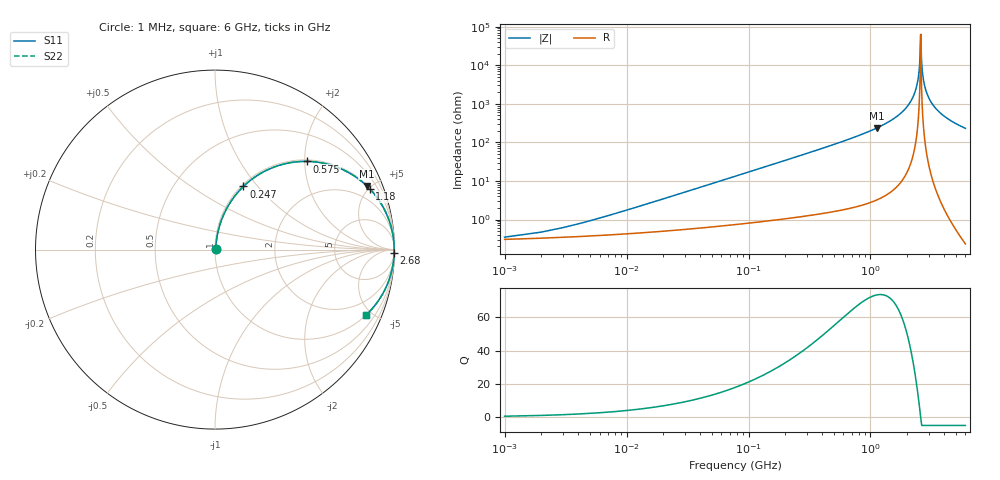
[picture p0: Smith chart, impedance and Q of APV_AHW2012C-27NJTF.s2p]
! APV AHW2012C-27NJTF 27 nH 0805 wire-wound (L1)
! Lumped model fitted to APV datasheet: Q=55@500MHz, SRF=2580MHz, DCR=0.25 ohm
! Model: (L + DCR + k*sqrt(f)) || Cp ; L=2.7e-08 H, Cp=1.41e-13 F, k=5.52e-05
! Generated by make_s2p.py - an estimate, not a measurement
! Series-thru 2-port: part connected between port 1 and port 2.
# Hz S RI R 50
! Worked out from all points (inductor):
!   1500 points, 1 MHz to 6 GHz, reference 50 ohm
!   read as one part in series: L = 27 nH near 8 MHz
!   highest Q = 73.6 at 1.13 GHz (marker M1), where L = 33.4 nH
!   self-resonance near 2.57 GHz
!   S11 on the Smith chart (normalised r, x): 1 MHz: 1.01, +0.00; 247 MHz: 1.02, +0.85; 575 MHz: 1.03, +2.05; 1.18 GHz: 1.07, +5.06; 2.68 GHz: open; 6 GHz: 1.00, -4.62
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1000000  0.00305 0.00169  0.997 -0.00169  0.997 -0.00169  0.00305 0.00169
5000000  0.00379 0.00842  0.9962 -0.00842  0.9962 -0.00842  0.00379 0.00842
1.9e7  0.00591 0.0319  0.9941 -0.0319  0.9941 -0.0319  0.00591 0.0319
7.8e7  0.0242 0.1283  0.9758 -0.1283  0.9758 -0.1283  0.0242 0.1283
2.47e8  0.1584 0.3519  0.8416 -0.3519  0.8416 -0.3519  0.1584 0.3519
3.31e8  0.2508 0.4223  0.7492 -0.4223  0.7492 -0.4223  0.2508 0.4223
5.75e8  0.5129 0.4914  0.4871 -0.4914  0.4871 -0.4914  0.5129 0.4914
1.13e9  0.8457 0.3545  0.1543 -0.3545  0.1543 -0.3545  0.8457 0.3545
1.18e9  0.8617 0.3385  0.1383 -0.3385  0.1383 -0.3385  0.8617 0.3385
1.41e9  0.9177 0.2679  0.0823 -0.2679  0.0823 -0.2679  0.9177 0.2679
1.85e9  0.9741 0.1504  0.0259 -0.1504  0.0259 -0.1504  0.9741 0.1504
2.2e9  0.9927 0.0724  0.00732 -0.0724  0.00732 -0.0724  0.9927 0.0724
2.41e9  0.9973 0.031  0.00273 -0.031  0.00273 -0.031  0.9973 0.031
2.53e9  0.9983 0.0089  0.00172 -0.0089  0.00172 -0.0089  0.9983 0.0089
2.57e9  0.9984 0.00176  0.0016 -0.00176  0.0016 -0.00176  0.9984 0.00176
2.63e9  0.9984 -0.00875  0.00162 0.00875  0.00162 0.00875  0.9984 -0.00875
2.68e9  0.9982 -0.0173  0.0018 0.0173  0.0018 0.0173  0.9982 -0.0173
2.76e9  0.9976 -0.0307  0.00238 0.0307  0.00238 0.0307  0.9976 -0.0307
2.88e9  0.9961 -0.0501  0.00386 0.0501  0.00386 0.0501  0.9961 -0.0501
3.32e9  0.9856 -0.1147  0.0144 0.1147  0.0144 0.1147  0.9856 -0.1147
4.22e9  0.9474 -0.2216  0.0526 0.2216  0.0526 0.2216  0.9474 -0.2216
6e9  0.8418 -0.3644  0.1582 0.3644  0.1582 0.3644  0.8418 -0.3644
